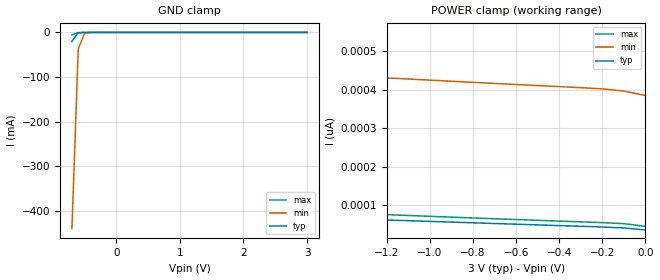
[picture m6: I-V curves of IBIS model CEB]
| [Disclaimer] THE MODEL LIBRARIES ARE PROVIDED AS IS.
| [Copyright] (C) COPYRIGHT 1999
| From lv640f63.ibs, AM29LV640U_FBGA63, ADVANCED MICRO DEVICES
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|   Model CEB
[Model]   CEB
Model_type   Input
Polarity   Inverting
Vinl =   0.8000V
Vinh =   2.1000V
C_comp   8.0000pF   8.0000pF   8.0000pF
[Temperature Range]   27.0000   100.0000   0.000
[Pullup Reference]   3.0000V   2.7000V   3.6000V
[Pulldown Reference]   0.000V   0.000V   0.000V
[POWER Clamp Reference]   3.0000V   2.7000V   3.6000V
[GND Clamp Reference]   0.000V   0.000V   0.000V
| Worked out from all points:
|   GND clamp passes 1 mA (typ) near -0.60 V on its own axis
[GND_clamp]
| voltage   I(typ)   I(min)   I(max)
-700mV    -20.09mA   -440.3mA   -5.345mA
-600mV    -620.2uA   -37.34mA   -763uA
-500mV    -30.45uA   -1.782mA   -99.94uA
-300mV    -91.04nA   -3.751uA   -323nA
3V        35.39pA    405.7pA    32.64pA
[POWER_clamp]
| voltage   I(typ)   I(min)   I(max)
-3V       212.8nA    76.1nA     887.2nA
-2.5V     1.045nA    1.324nA    6.392nA
-2.4V     358pA      788.5pA    1.764nA
-2.3V     155.6pA    580.7pA    513pA
-2.2V     97.39pA    500.8pA    195pA
-2.1V     81.37pA    470.5pA    116.6pA
-2V       76.94pA    459.1pA    98.24pA
-1.9V     74.68pA    453.9pA    93.35pA
-1.5V     66.99pA    440.4pA    82.44pA
-200mV    43.12pA    402.6pA    54.5pA
-100mV    40.66pA    396.9pA    51.86pA
0V        35.39pA    385.5pA    44.78pA
